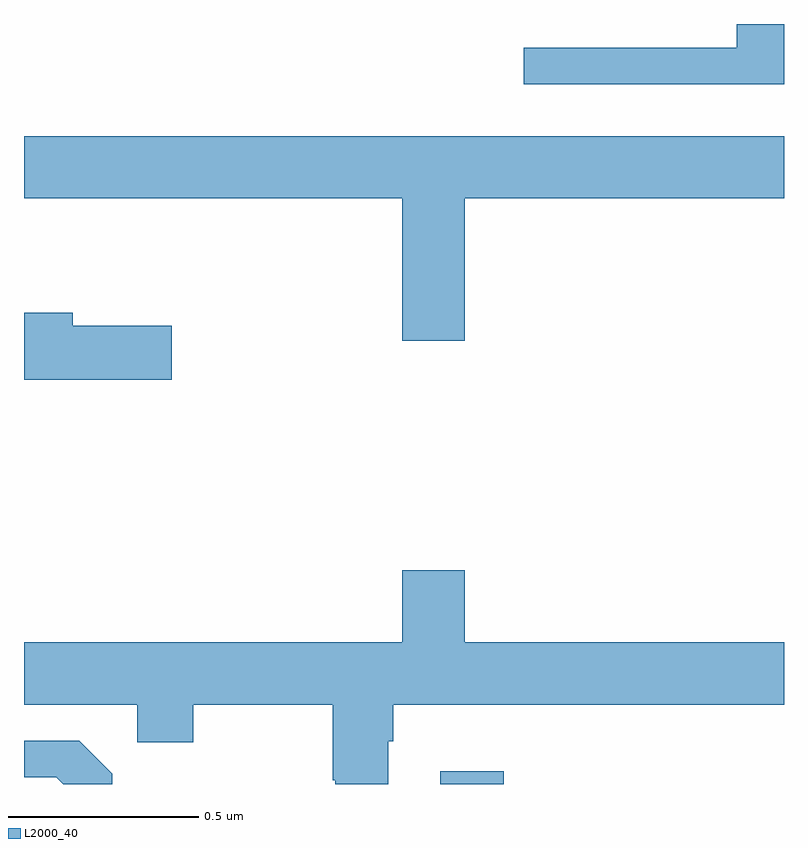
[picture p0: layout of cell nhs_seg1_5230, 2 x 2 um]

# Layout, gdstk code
import gdstk
lib = gdstk.Library(unit=1e-6, precision=1e-09)
def R(c, l, rs):  # rectangles x0, y0, x1, y1
    for r in rs: c.add(gdstk.rectangle(r[:2], r[2:], *l))
def P(c, l, *ps):  # polygons
    for p in ps: c.add(gdstk.Polygon(p, *l))
L2000_40 = (2000, 40)

nhs_seg1_5230 = lib.new_cell('nhs_seg1_5230')
R(nhs_seg1_5230, L2000_40, [(177.095,542.199,177.263,542.233)])
P(nhs_seg1_5230, L2000_40, [(178,544.199),(177.875,544.199),(177.875,544.137),(177.315,544.137),(177.315,544.04),(178,544.04)],
  [(177.16,543.74),(178,543.74),(178,543.904),(176,543.904),(176,543.74),(176.996,543.74),(176.996,543.366),(177.16,543.366)],
  [(176.389,543.405),(176.128,543.405),(176.128,543.439),(176,543.439),(176,543.263),(176.389,543.263)],
  [(176.959,542.312),(176.972,542.312),(176.972,542.408),(178,542.408),(178,542.572),(177.16,542.572),(177.16,542.761),(176.996,542.761),(176.996,542.572),(176,542.572),(176,542.408),(176.298,542.408),(176.298,542.309),(176.445,542.309),(176.445,542.408),(176.812,542.408),(176.812,542.209),(176.819,542.209),(176.819,542.199),(176.959,542.199)],
  [(176.232,542.226),(176.145,542.313),(176,542.313),(176,542.217),(176.085,542.217),(176.103,542.199),(176.232,542.199)])

lib.write_gds('nhs_seg1_5230.gds')
